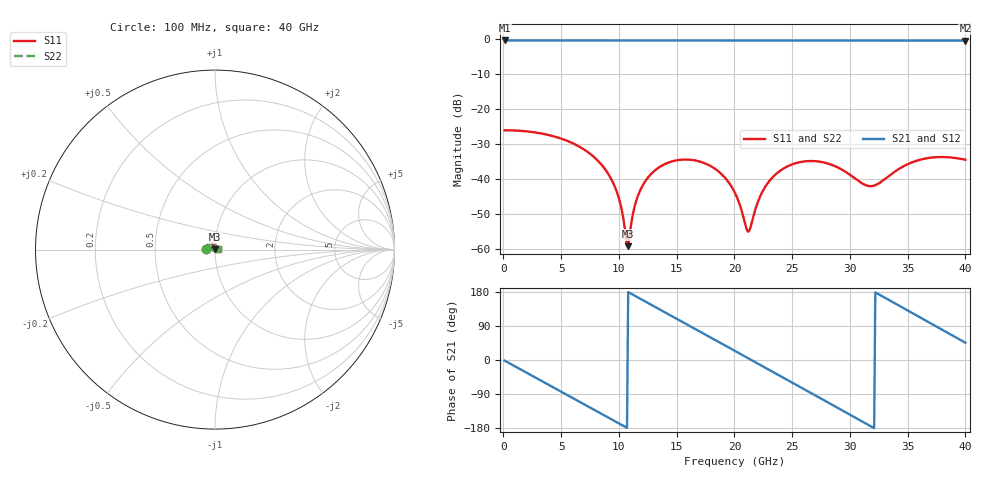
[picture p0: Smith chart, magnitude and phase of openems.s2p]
! thru_s8_L8: 2×thru, L8, 8 mm
! stackup: 8-layer 1.6 mm FR-4 (generic)
! ports: 1, 2
! openEMS 0.37.0, staircase, fine mesh (dfine 0.0175 mm), 676704 cells
# Hz S RI R 50
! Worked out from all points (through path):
!   400 points, 100 MHz to 40 GHz, reference 50 ohm
!   highest |S21| = -0.44 dB at 100 MHz (marker M1); lowest = -0.5 dB at 40 GHz (marker M2)
!   group delay of S21, straight-line fit = 46.8 ps
!   lowest |S11| = -59.2 dB at 10.8 GHz (marker M3), VSWR 1.00, Z = 49.9 + j0.0795 ohm
!   |S11| at or under -10 dB: start of sweep to end of sweep
!   |S22| runs from -59.2 to -26.1 dB; largest |S21 - S12| = 0
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1e8  -0.0496 0.00108  0.95 -0.0278  0.95 -0.0278  -0.0496 0.00108
3.8e9  -0.0282 0.0322  0.4228 -0.8509  0.4228 -0.8509  -0.0282 0.0322
6.8e9  -4.15e-05 0.0275  -0.383 -0.8692  -0.383 -0.8692  -4.15e-05 0.0275
9.5e9  0.00516 0.00709  -0.8862 -0.3405  -0.8862 -0.3405  0.00516 0.00709
1.02e10  0.00242 0.00306  -0.9368 -0.1533  -0.9368 -0.1533  0.00242 0.00306
1.08e10  -0.000753 0.000797  -0.9491 0.0126  -0.9491 0.0126  -0.000753 0.000797
1.12e10  -0.00309 -1.19e-05  -0.9411 0.1233  -0.9411 0.1233  -0.00309 -1.19e-05
1.17e10  -0.00606 -0.000204  -0.9131 0.2591  -0.9131 0.2591  -0.00606 -0.000204
1.34e10  -0.0134 0.00505  -0.6786 0.6633  -0.6786 0.6633  -0.0134 0.00505
1.67e10  -0.00407 0.0178  0.1608 0.935  0.1608 0.935  -0.00407 0.0178
1.87e10  0.0054 0.0112  0.6516 0.6893  0.6516 0.6893  0.0054 0.0112
2.01e10  0.00526 0.00301  0.8726 0.3712  0.8726 0.3712  0.00526 0.00301
2.12e10  0.000777 -0.00158  0.9451 0.0746  0.9451 0.0746  0.000777 -0.00158
2.22e10  -0.00496 -0.00239  0.926 -0.2026  0.926 -0.2026  -0.00496 -0.00239
2.32e10  -0.0101 0.00042  0.8273 -0.4624  0.8273 -0.4624  -0.0101 0.00042
2.67e10  -0.0031 0.0178  0.0278 -0.9469  0.0278 -0.9469  -0.0031 0.0178
2.85e10  0.00874 0.0131  -0.456 -0.8302  -0.456 -0.8302  0.00874 0.0131
3.04e10  0.0103 -0.000824  -0.8281 -0.4592  -0.8281 -0.4592  0.0103 -0.000824
3.18e10  0.00195 -0.00764  -0.9428 -0.0866  -0.9428 -0.0866  0.00195 -0.00764
3.34e10  -0.0101 -0.00462  -0.8779 0.3536  -0.8779 0.3536  -0.0101 -0.00462
3.68e10  -0.00366 0.0196  -0.1672 0.9308  -0.1672 0.9308  -0.00366 0.0196
4e10  0.0187 0.00217  0.6617 0.6748  0.6617 0.6748  0.0187 0.00217
